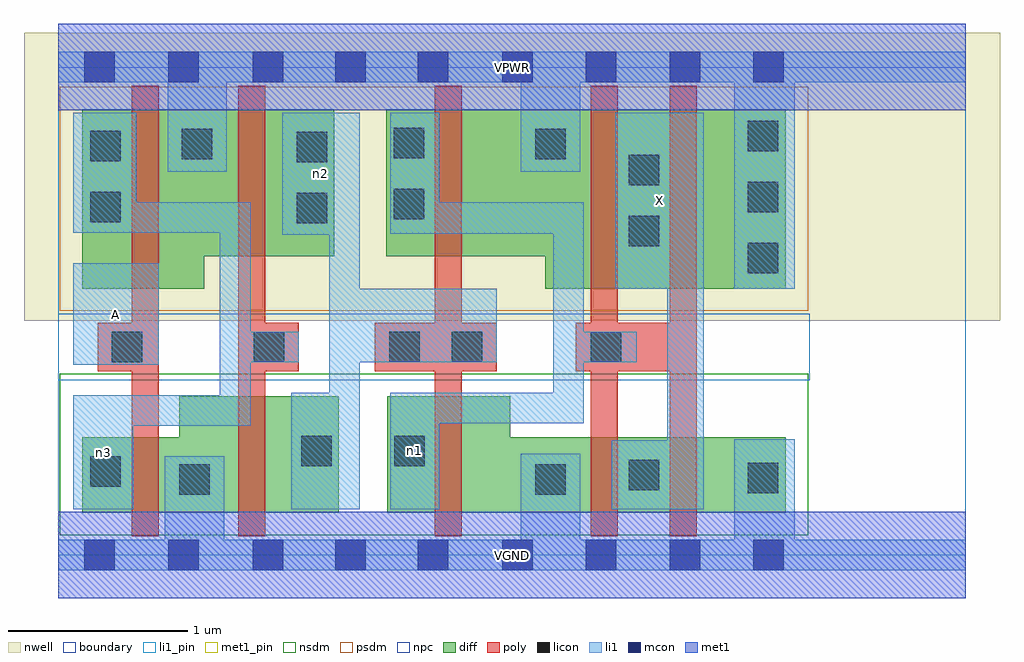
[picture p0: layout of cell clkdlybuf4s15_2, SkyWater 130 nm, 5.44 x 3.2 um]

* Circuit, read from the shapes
.subckt clkdlybuf4s15_2 A VGND VPWR X n1 n2 n3
XM1 VGND A n3 VSUBS sky130_fd_pr__nfet_01v8 w=0.42 l=0.15
XM2 n2 n3 VGND VSUBS sky130_fd_pr__nfet_01v8 w=0.65 l=0.15
XM3 VGND n2 n1 VSUBS sky130_fd_pr__nfet_01v8 w=0.65 l=0.15
XM4 X n1 VGND VSUBS sky130_fd_pr__nfet_01v8 w=0.42 l=0.15 m=2
XM5 VPWR A n3 n4 sky130_fd_pr__pfet_01v8 w=1 l=0.15
XM6 n2 n3 VPWR n4 sky130_fd_pr__pfet_01v8 w=0.82 l=0.15
XM7 VPWR n2 n1 n4 sky130_fd_pr__pfet_01v8 w=0.82 l=0.15
XM8 X n1 VPWR n4 sky130_fd_pr__pfet_01v8 w=1 l=0.15 m=2
.ends

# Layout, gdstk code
import gdstk
lib = gdstk.Library(unit=1e-6, precision=1e-09)
def R(c, l, rs):  # rectangles x0, y0, x1, y1
    for r in rs: c.add(gdstk.rectangle(r[:2], r[2:], *l))
def A(c, l, x, y, w, h, nx, ny, dx, dy):  # array of equal rectangles
    R(c, l, [(x+i*dx, y+j*dy, x+i*dx+w, y+j*dy+h) for i in range(nx) for j in range(ny)])
nwell = (64, 20)
diff = (65, 20)
poly = (66, 20)
licon = (66, 44)
li1_pin = (67, 16)
li1 = (67, 20)
mcon = (67, 44)
met1_pin = (68, 16)
met1 = (68, 20)
nsdm = (93, 44)
psdm = (94, 20)
npc = (95, 20)
boundary = (235, 4)

clkdlybuf4s15_2 = lib.new_cell('clkdlybuf4s15_2')
R(clkdlybuf4s15_2, nwell, [(-0.19,1.305,5.25,2.91), (0,1.305,5.06,2.91)])
R(clkdlybuf4s15_2, diff, [(0.135,0.235,1.565,0.655), (0.675,0.235,1.565,0.885), (1.835,0.235,4.055,0.655), (1.835,0.235,2.52,0.885), (0.135,1.485,0.815,2.485), (2.715,1.485,4.055,2.485), (0.135,1.665,1.54,2.485), (1.83,1.665,4.055,2.485)])
R(clkdlybuf4s15_2, poly, [(0.41,0.105,0.56,2.615), (1.005,0.105,1.155,2.615), (2.1,0.105,2.25,2.615), (2.97,0.105,3.12,2.615), (3.41,0.105,3.56,2.615), (0.22,1.025,0.56,1.295), (1.005,1.025,1.34,1.295), (1.765,1.025,2.445,1.295), (2.885,1.025,3.56,1.295)])
A(clkdlybuf4s15_2, licon, 3.845, 1.57, 0.17, 0.17, 1, 3, 0, 0.34)
R(clkdlybuf4s15_2, licon, [(0.675,0.335,0.845,0.505), (2.66,0.335,2.83,0.505), (3.845,0.345,4.015,0.515), (3.18,0.36,3.35,0.53), (0.18,0.38,0.35,0.55), (1.355,0.495,1.525,0.665), (1.875,0.495,2.045,0.665), (0.3,1.075,0.47,1.245), (1.09,1.075,1.26,1.245), (1.845,1.075,2.015,1.245), (2.195,1.075,2.365,1.245), (2.97,1.075,3.14,1.245), (3.18,1.72,3.35,1.89), (1.33,1.85,1.5,2.02), (0.18,1.855,0.35,2.025), (1.87,1.87,2.04,2.04), (3.18,2.06,3.35,2.23), (1.33,2.19,1.5,2.36), (0.18,2.195,0.35,2.365), (0.69,2.205,0.86,2.375), (2.66,2.205,2.83,2.375), (1.87,2.21,2.04,2.38)])
R(clkdlybuf4s15_2, li1_pin, [(0.085,1.06,0.56,1.625), (3.105,1.485,3.6,2.465)])
R(clkdlybuf4s15_2, li1, [(0,-0.085,5.06,0.085), (0.595,-0.085,0.925,0.55), (2.58,-0.085,2.91,0.565), (3.77,-0.085,4.105,0.645), (0.085,0.255,0.42,0.89), (1.3,0.255,1.68,0.905), (1.51,0.255,1.68,2.465), (1.85,0.255,2.125,0.905), (3.085,0.255,3.6,0.64), (3.395,0.255,3.6,2.465), (0.085,0.72,1.075,0.89), (0.9,0.72,1.075,1.965), (1.85,0.735,2.93,0.905), (2.76,0.735,2.93,1.965), (0.085,1.06,0.56,1.625), (0.9,1.075,1.34,1.245), (1.51,1.075,2.445,1.485), (2.76,1.075,3.225,1.245), (3.105,1.485,3.6,2.465), (3.77,1.485,4.105,2.805), (1.25,1.785,1.68,2.465), (1.85,1.79,2.125,2.465), (1.85,1.79,2.93,1.965), (0.085,1.795,1.075,1.965), (0.085,1.795,0.435,2.465), (0.61,2.135,0.94,2.805), (2.58,2.135,2.91,2.805), (0,2.635,5.06,2.805)])
A(clkdlybuf4s15_2, mcon, 0.145, -0.085, 0.17, 0.17, 3, 2, 0.47, 2.72)
R(clkdlybuf4s15_2, mcon, [(1.545,-0.085,1.715,0.085), (2.005,-0.085,2.175,0.085), (2.475,-0.085,2.645,0.085), (2.94,-0.085,3.11,0.085), (3.41,-0.085,3.58,0.085), (3.875,-0.085,4.045,0.085), (1.545,2.635,1.715,2.805), (2.005,2.635,2.175,2.805), (2.475,2.635,2.645,2.805), (2.94,2.635,3.11,2.805), (3.41,2.635,3.58,2.805), (3.875,2.635,4.045,2.805)])
R(clkdlybuf4s15_2, met1_pin, [(0,-0.24,5.06,0.24), (0,2.48,5.06,2.96)])
R(clkdlybuf4s15_2, met1, [(0,-0.24,5.06,0.24), (0,2.48,5.06,2.96)])
R(clkdlybuf4s15_2, nsdm, [(0.01,0.11,4.18,1.01)])
R(clkdlybuf4s15_2, psdm, [(0.01,1.36,4.18,2.61)])
R(clkdlybuf4s15_2, npc, [(0,0.975,4.19,1.345)])
R(clkdlybuf4s15_2, boundary, [(0,0,5.06,2.72)])
clkdlybuf4s15_2.add(gdstk.Label('A', (0.322,1.342), layer=67, texttype=5))
clkdlybuf4s15_2.add(gdstk.Label('X', (3.352,1.975), layer=67, texttype=5))
clkdlybuf4s15_2.add(gdstk.Label('n3', (0.252,0.572), layer=67, texttype=5))
clkdlybuf4s15_2.add(gdstk.Label('n2', (1.465,2.125), layer=67, texttype=5))
clkdlybuf4s15_2.add(gdstk.Label('n1', (1.987,0.58), layer=67, texttype=5))
clkdlybuf4s15_2.add(gdstk.Label('VPWR', (2.53,2.72), layer=68, texttype=5))
clkdlybuf4s15_2.add(gdstk.Label('VGND', (2.53,0), layer=68, texttype=5))
clkdlybuf4s15_2.add(gdstk.Label('A', (0.322,1.342), layer=67, texttype=16))
clkdlybuf4s15_2.add(gdstk.Label('X', (3.352,1.975), layer=67, texttype=16))
clkdlybuf4s15_2.add(gdstk.Label('VPWR', (2.53,2.72), layer=68, texttype=16))
clkdlybuf4s15_2.add(gdstk.Label('VGND', (2.53,0), layer=68, texttype=16))

lib.write_gds('clkdlybuf4s15_2.gds')
